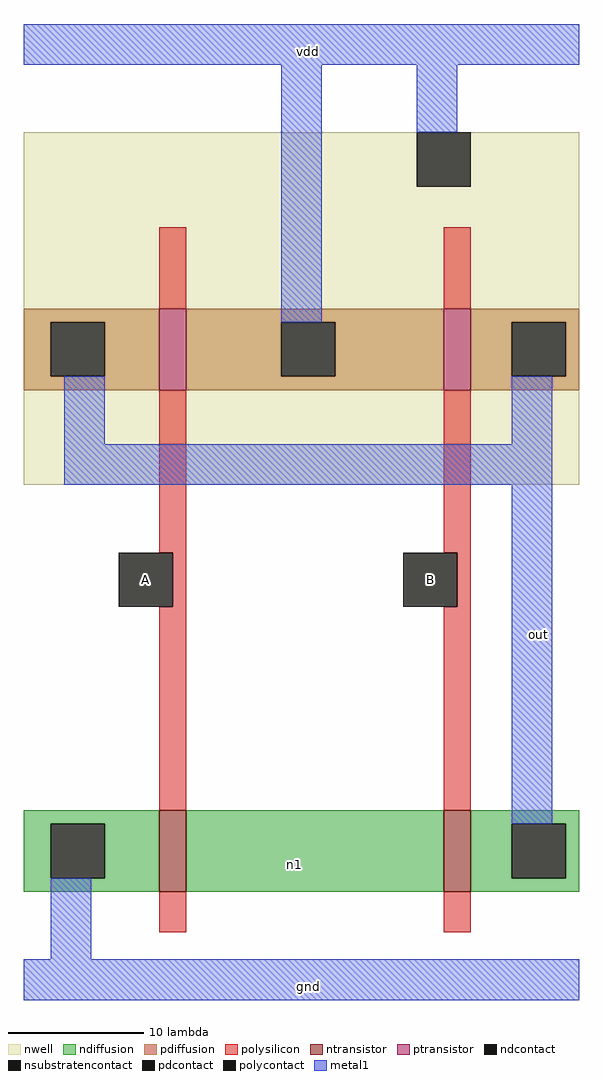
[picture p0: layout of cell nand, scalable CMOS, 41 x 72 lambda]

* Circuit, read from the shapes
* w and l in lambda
.subckt nand A B gnd n1 out vdd
M1 n1 A gnd VSUBS nfet w=6 l=2
M2 out B n1 VSUBS nfet w=6 l=2
M3 vdd A out vdd pfet w=6 l=2
M4 out B vdd vdd pfet w=6 l=2
.ends

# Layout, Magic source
magic
tech scmos
<< nwell >>
rect 0 38 41 64
<< polysilicon >>
rect 10 51 12 57
rect 31 51 33 57
rect 10 33 12 45
rect 31 33 33 45
rect 11 29 12 33
rect 32 29 33 33
rect 10 14 12 29
rect 31 14 33 29
rect 10 5 12 8
rect 31 5 33 8
<< ndiffusion >>
rect 0 13 10 14
rect 0 9 2 13
rect 6 9 10 13
rect 0 8 10 9
rect 12 8 31 14
rect 33 13 41 14
rect 33 9 36 13
rect 40 9 41 13
rect 33 8 41 9
<< pdiffusion >>
rect 0 50 10 51
rect 0 46 2 50
rect 6 46 10 50
rect 0 45 10 46
rect 12 50 31 51
rect 12 46 19 50
rect 23 46 31 50
rect 12 45 31 46
rect 33 50 41 51
rect 33 46 36 50
rect 40 46 41 50
rect 33 45 41 46
<< metal1 >>
rect 0 69 41 72
rect 19 50 22 69
rect 29 64 32 69
rect 3 41 6 46
rect 36 41 39 46
rect 3 38 39 41
rect 36 13 39 38
rect 2 3 5 9
rect 0 0 41 3
<< ntransistor >>
rect 10 8 12 14
rect 31 8 33 14
<< ptransistor >>
rect 10 45 12 51
rect 31 45 33 51
<< polycontact >>
rect 7 29 11 33
rect 28 29 32 33
<< ndcontact >>
rect 2 9 6 13
rect 36 9 40 13
<< pdcontact >>
rect 2 46 6 50
rect 19 46 23 50
rect 36 46 40 50
<< nsubstratencontact >>
rect 29 60 33 64
<< labels >>
rlabel polycontact 9 31 9 31 1 A
rlabel polycontact 30 31 30 31 1 B
rlabel metal1 21 1 21 1 1 gnd
rlabel metal1 21 70 21 70 5 vdd
rlabel metal1 38 27 38 27 7 out
rlabel ndiffusion 20 10 20 10 1 n1
<< end >>
